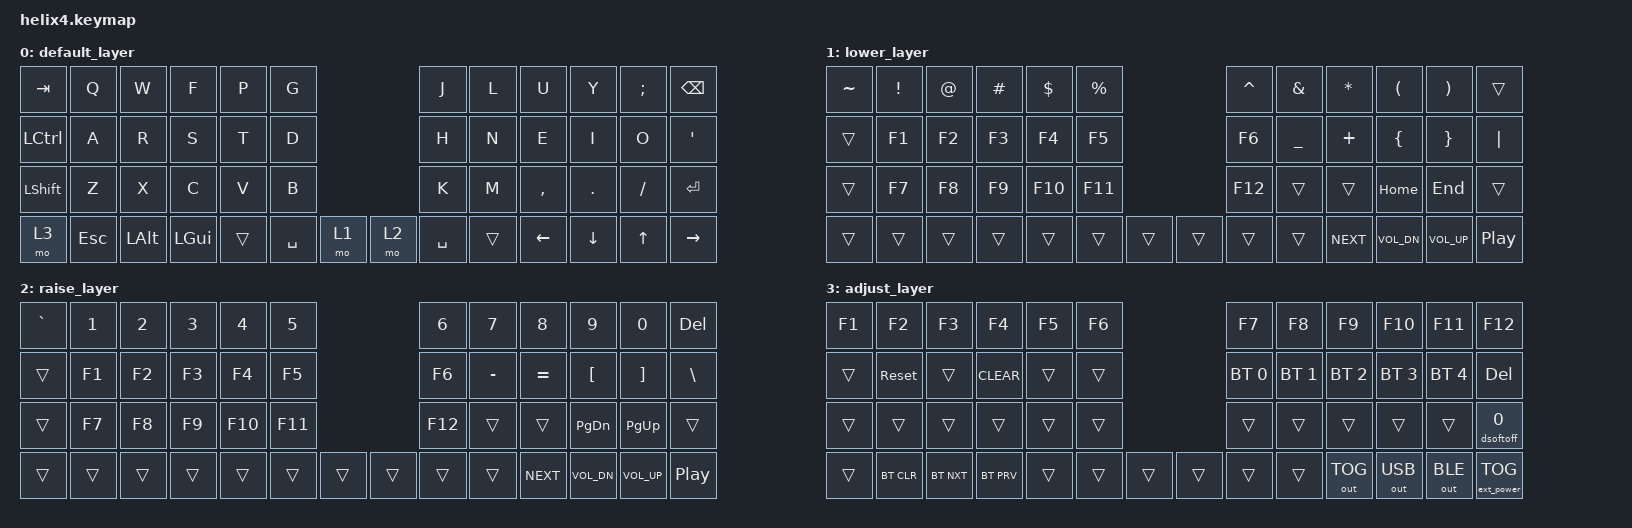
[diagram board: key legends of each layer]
/*
 * Copyright (c) 2020 The ZMK Contributors
 *
 * SPDX-License-Identifier: MIT
 */

#include <behaviors.dtsi>
#include <dt-bindings/zmk/keys.h>
#include <dt-bindings/zmk/ext_power.h>
#include <dt-bindings/zmk/bt.h>
#include <dt-bindings/zmk/outputs.h>

/ {
    behaviors {
        dsoftoff: dsoftoff {
            compatible = "zmk,behavior-display-soft-off";
            #binding-cells = <0>;
        };

        soft_off_hold: soft_off_hold {
            compatible = "zmk,behavior-hold-tap";
            #binding-cells = <2>;
            flavor = "hold-preferred";
            tapping-term-ms = <1000>;
            bindings = <&dsoftoff>, <&kp>;
        };
    };

    keymap {
        compatible = "zmk,keymap";

        default_layer {
            // ------------------------------------------.             .------------------------------------------.
            // |  Tab  |   Q  |   W  |   F  |   P  |   G  |             |   J  |   L  |   U  |   Y  |   ;  | Bksp |
            // |-------+------+------+------+------+------|             |------+------+------+------+------+------|
            // | Ctrl  |   A  |   R  |   S  |   T  |   D  |             |   H  |   N  |   E  |   I  |   O  |  '   |
            // |-------+------+------+------+------+------|             |------+------+------+------+------+------|
            // | Shift |   Z  |   X  |   C  |   V  |   B  |             |   K  |   M  |   ,  |   .  |   /  | Enter|
            // |-------+------+------+------+------+------+------+------+------+------+------+------+------+------|
            // |Adjust | Esc  | Alt  | GUI  | EISU | Lower| Space| Space| Raise| KANA | Left | Down |  Up  | Right|
            // '--------------------------------------------------------------------------------------------------'

            bindings = <
  &kp TAB    &kp Q     &kp W     &kp F      &kp P      &kp G                          &kp J      &kp L      &kp U       &kp Y   &kp SEMI   &kp BSPC
&kp LCTRL    &kp A     &kp R     &kp S      &kp T      &kp D                          &kp H      &kp N      &kp E       &kp I      &kp O    &kp SQT
&kp LSHFT    &kp Z     &kp X     &kp C      &kp V      &kp B                          &kp K      &kp M  &kp COMMA  &kp PERIOD  &kp SLASH    &kp RET
    &mo 3  &kp ESC  &kp LALT  &kp LGUI     &trans  &kp SPACE &mo 1          &mo 2 &kp SPACE     &trans   &kp LEFT    &kp DOWN     &kp UP  &kp RIGHT
            >;
        };

        lower_layer {
            // ------------------------------------------.             .------------------------------------------.
            // |   ~  |   !  |   @  |   #  |   $  |   %  |             |   ^  |   &  |   *  |   (  |   )  |      |
            // |------+------+------+------+------+------|             |------+------+------+------+------+------|
            // |      |  F1  |  F2  |  F3  |  F4  |  F5  |             |  F6  |   _  |   +  |   {  |   }  | Pipe |
            // |------+------+------+------+------+------|             |------+------+------+------+------+------|
            // |      |  F7  |  F8  |  F9  |  F10 |  F11 |             |  F12 |      |      | Home | End  |      |
            // |------+------+------+------+------+------+------+------+------+------+------+------+------+------|
            // |      |      |      |      |      |      |      |      |      |      | Next | Vol- | Vol+ | Play |
            // '--------------------------------------------------------------------------------------------------'

            bindings = <
&kp TILDE  &kp EXCL  &kp AT  &kp HASH  &kp DLLR  &kp PRCNT                         &kp CARET   &kp AMPS  &kp ASTRK  &kp LPAR  &kp RPAR    &trans
   &trans    &kp F1  &kp F2    &kp F3    &kp F4     &kp F5                            &kp F6  &kp UNDER   &kp PLUS  &kp LBRC  &kp RBRC  &kp PIPE
   &trans    &kp F7  &kp F8    &kp F9   &kp F10    &kp F11                           &kp F12     &trans     &trans  &kp HOME   &kp END    &trans
   &trans    &trans  &trans    &trans    &trans     &trans  &trans  &trans            &trans     &trans  &kp C_NEXT  &kp C_VOL_DN  &kp C_VOL_UP  &kp C_PP
            >;
        };

        raise_layer {
            // ------------------------------------------.             .------------------------------------------.
            // |   `  |   1  |   2  |   3  |   4  |   5  |             |   6  |   7  |   8  |   9  |   0  | Del  |
            // |------+------+------+------+------+------|             |------+------+------+------+------+------|
            // |      |  F1  |  F2  |  F3  |  F4  |  F5  |             |  F6  |   -  |   =  |   [  |   ]  |  \   |
            // |------+------+------+------+------+------|             |------+------+------+------+------+------|
            // |      |  F7  |  F8  |  F9  |  F10 |  F11 |             |  F12 |      |      |PageDn|PageUp|      |
            // |------+------+------+------+------+------+------+------+------+------+------+------+------+------|
            // |      |      |      |      |      |      |      |      |      |      | Next | Vol- | Vol+ | Play |
            // '--------------------------------------------------------------------------------------------------'

            bindings = <
&kp GRAVE  &kp N1  &kp N2  &kp N3   &kp N4   &kp N5                   &kp N6     &kp N7      &kp N8        &kp N9        &kp N0   &kp DEL
   &trans  &kp F1  &kp F2  &kp F3   &kp F4   &kp F5                   &kp F6  &kp MINUS   &kp EQUAL      &kp LBKT      &kp RBKT  &kp BSLH
   &trans  &kp F7  &kp F8  &kp F9  &kp F10  &kp F11                  &kp F12     &trans      &trans     &kp PG_DN     &kp PG_UP    &trans
   &trans  &trans  &trans  &trans   &trans   &trans  &trans  &trans   &trans     &trans  &kp C_NEXT  &kp C_VOL_DN  &kp C_VOL_UP  &kp C_PP
            >;
        };

        adjust_layer {
            // ------------------------------------------.             .------------------------------------------.
            // |  F1  |  F2  |  F3  |  F4  |  F5  |  F6  |             |  F7  |  F8  |  F9  | F10  | F11  | F12  |
            // |------+------+------+------+------+------|             |------+------+------+------+------+------|
            // |      | Reset|      |EEPRST|      |      |             | BT 0 | BT 1 | BT 2 | BT 3 | BT 4 | Del  |
            // |------+------+------+------+------+------|             |------+------+------+------+------+------|
            // |      |      |      |      |      |      |             |      |      |      |      |      |SoftOff|
            // |------+------+------+------+------+------+------+------+------+------+------+------+------+------|
            // |      |BTCLR |BT_NXT|BT_PRV|      |      |      |      |      |      |OUT_TOG|OUT_USB|OUT_BLE|EP_TOG|
            // '--------------------------------------------------------------------------------------------------'

            bindings = <
  &kp F1        &kp F2        &kp F3        &kp F4  &kp F5  &kp F6                  &kp F7  &kp F8  &kp F9  &kp F10  &kp F11             &kp F12
  &trans    &sys_reset        &trans    &kp CLEAR  &trans  &trans                  &bt BT_SEL 0  &bt BT_SEL 1  &bt BT_SEL 2  &bt BT_SEL 3  &bt BT_SEL 4  &kp DEL
  &trans        &trans        &trans        &trans  &trans  &trans                  &trans  &trans  &trans   &trans   &trans  &soft_off_hold 0 0
  &trans  &bt BT_CLR  &bt BT_NXT  &bt BT_PRV  &trans  &trans  &trans  &trans  &trans  &trans  &out OUT_TOG  &out OUT_USB  &out OUT_BLE  &ext_power EP_TOG
            >;
        };
    };
};
